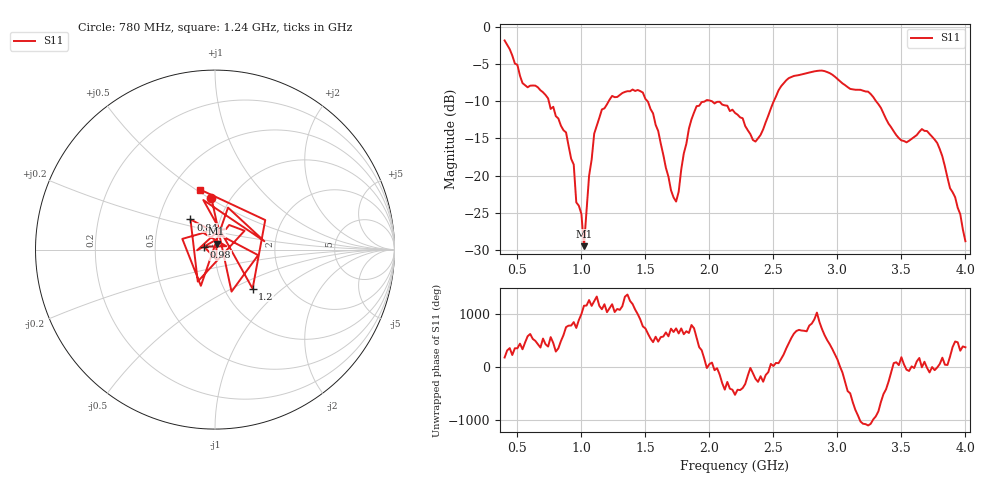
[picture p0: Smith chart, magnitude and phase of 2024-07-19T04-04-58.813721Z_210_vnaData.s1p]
!Created with skrf (http://scikit-rf.org).
# Hz S RI R 50.0
!freq ReS11 ImS11
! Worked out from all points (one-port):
!   181 points, 400 MHz to 4 GHz, reference 50 ohm
!   lowest |S11| = -29.5 dB at 1.02 GHz (marker M1), VSWR 1.07, Z = 50.8 + j3.28 ohm
!   |S11| at or under -10 dB: 745.6 MHz to 1.213 GHz (467 MHz wide, 47.7 % of centre); 2.021 GHz to 2.502 GHz (481.4 MHz wide, 21.3 % of centre); 3.303 GHz to end of sweep (the widest 3 of 4)
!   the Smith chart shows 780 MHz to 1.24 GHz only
!   S11 on the Smith chart (normalised r, x): 780 MHz: 0.81, +0.52; 840 MHz: 0.72, +0.25; 980 MHz: 0.89, +0.03; 1.2 GHz: 1.35, -0.65; 1.24 GHz: 0.69, +0.52
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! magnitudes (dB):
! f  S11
! 400 MHz  -1.8
! 540 MHz  -7.5
! 780 MHz  -10.7
! 840 MHz  -13.3
! 860 MHz  -13.9
! 940 MHz  -18.5
! 960 MHz  -23.6
! 980 MHz  -24.1
! 1.02 GHz  -29.5
! 1.06 GHz  -20.0
! 1.1 GHz  -14.4
! 1.2 GHz  -10.4
! 1.24 GHz  -9.3
! 1.3 GHz  -9.1
! 1.48 GHz  -8.8
! 1.56 GHz  -11.6
! 1.72 GHz  -23.0
! 1.76 GHz  -22.2
! 1.84 GHz  -13.7
! 1.9 GHz  -10.6
! 2.2 GHz  -11.6
! 2.36 GHz  -15.4
! 2.66 GHz  -6.6
! 3.1 GHz  -8.3
! 3.24 GHz  -8.7
! 3.56 GHz  -15.3
! 3.78 GHz  -15.6
! 4 GHz  -28.9
